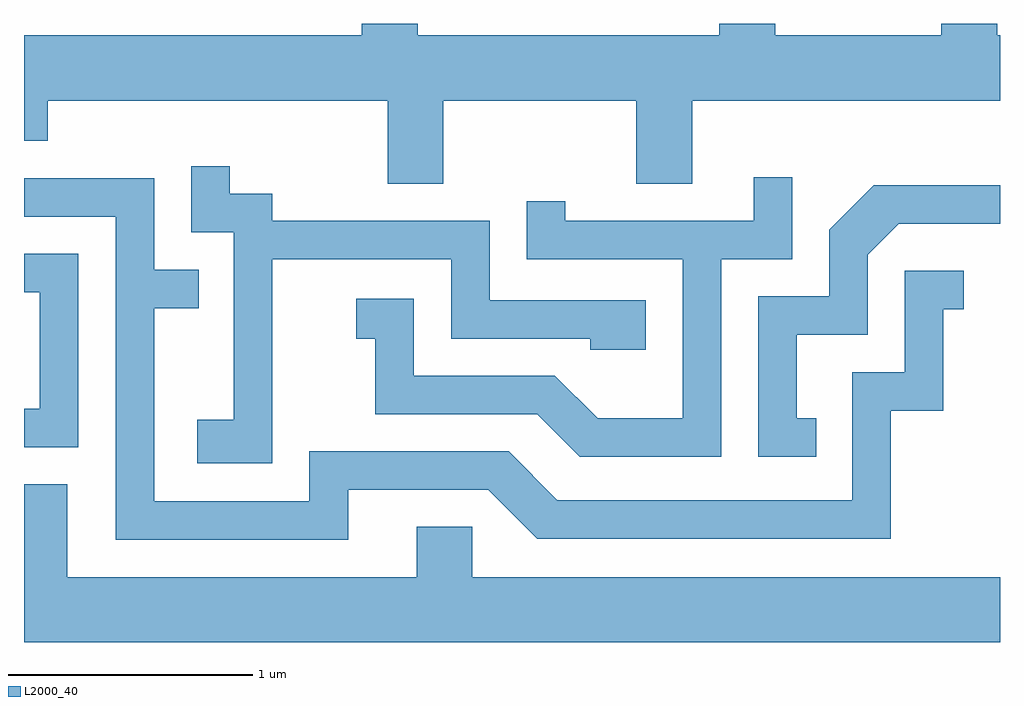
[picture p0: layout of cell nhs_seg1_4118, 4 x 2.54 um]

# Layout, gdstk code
import gdstk
lib = gdstk.Library(unit=1e-6, precision=1e-09)
def P(c, l, *ps):  # polygons
    for p in ps: c.add(gdstk.Polygon(p, *l))
L2000_40 = (2000, 40)

nhs_seg1_4118 = lib.new_cell('nhs_seg1_4118')
P(nhs_seg1_4118, L2000_40, [(311.329,857.396),(312.121,857.396),(312.121,857.056),(312.349,857.056),(312.349,857.396),(313.611,857.396),(313.611,857.664),(313.599,857.664),(313.599,857.712),(313.371,857.712),(313.371,857.664),(312.689,857.664),(312.689,857.712),(312.461,857.712),(312.461,857.664),(311.224,857.664),(311.224,857.712),(310.996,857.712),(310.996,857.664),(309.611,857.664),(309.611,857.231),(309.709,857.231),(309.709,857.396),(311.101,857.396),(311.101,857.056),(311.329,857.056)],
  [(310.629,856.746),(311.361,856.746),(311.361,856.421),(311.931,856.421),(311.931,856.376),(312.159,856.376),(312.159,856.579),(311.519,856.579),(311.519,856.904),(310.629,856.904),(310.629,857.014),(310.454,857.014),(310.454,857.128),(310.296,857.128),(310.296,856.856),(310.471,856.856),(310.471,856.089),(310.321,856.089),(310.321,855.911),(310.629,855.911)],
  [(312.469,856.746),(312.759,856.746),(312.759,857.083),(312.601,857.083),(312.601,856.904),(311.829,856.904),(311.829,856.983),(311.671,856.983),(311.671,856.746),(312.311,856.746),(312.311,856.094),(311.962,856.094),(311.787,856.269),(311.209,856.269),(311.209,856.584),(310.973,856.584),(310.973,856.421),(311.051,856.421),(311.051,856.111),(311.714,856.111),(311.889,855.936),(312.469,855.936)],
  [(310.939,855.801),(311.514,855.801),(311.714,855.601),(313.164,855.601),(313.164,856.126),(313.379,856.126),(313.379,856.541),(313.463,856.541),(313.463,856.699),(313.221,856.699),(313.221,856.284),(313.006,856.284),(313.006,855.759),(311.797,855.759),(311.597,855.959),(310.781,855.959),(310.781,855.754),(310.144,855.754),(310.144,856.546),(310.328,856.546),(310.328,856.704),(310.144,856.704),(310.144,857.079),(309.611,857.079),(309.611,856.921),(309.986,856.921),(309.986,855.596),(310.939,855.596)],
  [(312.858,856.094),(312.779,856.094),(312.779,856.436),(313.069,856.436),(313.069,856.764),(313.197,856.891),(313.611,856.891),(313.611,857.049),(313.094,857.049),(312.911,856.867),(312.911,856.594),(312.621,856.594),(312.621,855.936),(312.858,855.936)],
  [(309.834,856.769),(309.611,856.769),(309.611,856.611),(309.676,856.611),(309.676,856.134),(309.611,856.134),(309.611,855.976),(309.834,855.976)],
  [(313.611,855.444),(311.449,855.444),(311.449,855.649),(311.221,855.649),(311.221,855.444),(309.789,855.444),(309.789,855.824),(309.611,855.824),(309.611,855.176),(313.611,855.176)])

lib.write_gds('nhs_seg1_4118.gds')
